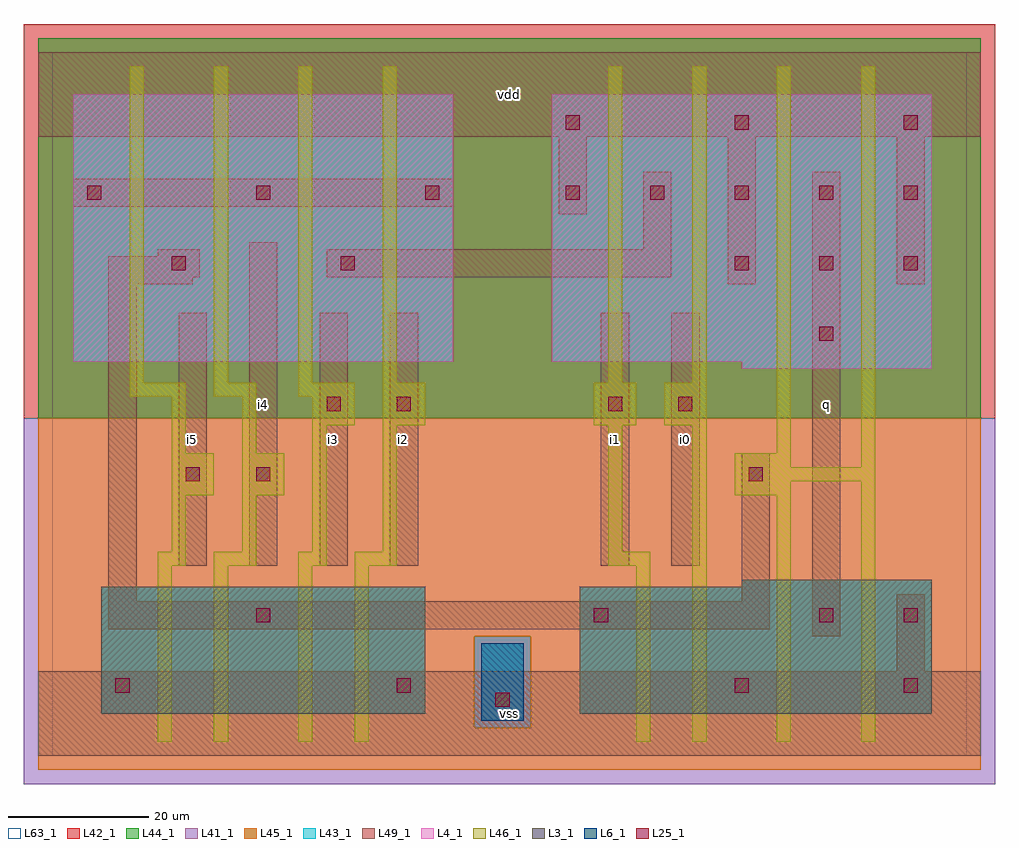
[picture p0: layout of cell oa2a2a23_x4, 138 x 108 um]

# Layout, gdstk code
import gdstk
lib = gdstk.Library(unit=1e-6, precision=1e-09)
def R(c, l, rs):  # rectangles x0, y0, x1, y1
    for r in rs: c.add(gdstk.rectangle(r[:2], r[2:], *l))
def A(c, l, x, y, w, h, nx, ny, dx, dy):  # array of equal rectangles
    R(c, l, [(x+i*dx, y+j*dy, x+i*dx+w, y+j*dy+h) for i in range(nx) for j in range(ny)])
L3_1 = (3, 1)
L4_1 = (4, 1)
L6_1 = (6, 1)
L25_1 = (25, 1)
L41_1 = (41, 1)
L42_1 = (42, 1)
L43_1 = (43, 1)
L44_1 = (44, 1)
L45_1 = (45, 1)
L46_1 = (46, 1)
L49_1 = (49, 1)
L63_1 = (63, 1)

oa2a2a23_x4 = lib.new_cell('oa2a2a23_x4')
R(oa2a2a23_x4, L3_1, [(7,6,53,24), (75,6,125,24), (98,24,125,25)])
R(oa2a2a23_x4, L4_1, [(98,55,125,56), (3,56,57,94), (71,56,125,94)])
R(oa2a2a23_x4, L6_1, [(61,5,67,16), (61,5,67,16)])
A(oa2a2a23_x4, L25_1, 97, 69, 2, 2, 3, 1, 12, 0)
A(oa2a2a23_x4, L25_1, 5, 79, 2, 2, 3, 1, 24, 0)
A(oa2a2a23_x4, L25_1, 73, 79, 2, 2, 5, 1, 12, 0)
A(oa2a2a23_x4, L25_1, 73, 89, 2, 2, 3, 1, 24, 0)
R(oa2a2a23_x4, L25_1, [(63,7,65,9), (9,9,11,11), (49,9,51,11), (97,9,99,11), (121,9,123,11), (29,19,31,21), (77,19,79,21), (109,19,111,21), (121,19,123,21), (19,39,21,41), (29,39,31,41), (99,39,101,41), (39,49,41,51), (49,49,51,51), (79,49,81,51), (89,49,91,51), (109,59,111,61), (17,69,19,71), (41,69,43,71)])
R(oa2a2a23_x4, L41_1, [(-4,-4,134,48)])
R(oa2a2a23_x4, L42_1, [(-4,48,134,104)])
R(oa2a2a23_x4, L43_1, [(61,5,67,16), (7,6,53,24), (75,6,125,24), (98,24,125,25), (98,55,125,56), (3,56,57,94), (71,56,125,94)])
R(oa2a2a23_x4, L44_1, [(60,4,68,17), (-2,48,132,102)])
R(oa2a2a23_x4, L45_1, [(-2,-2,132,4), (-2,4,60,17), (68,4,132,17), (-2,17,132,48)])
A(oa2a2a23_x4, L46_1, 11, 53, 2, 45, 4, 1, 12, 0)
R(oa2a2a23_x4, L46_1, [(15,2,17,27), (23,2,25,27), (35,2,37,27), (43,2,45,27), (83,2,85,27), (91,2,93,47), (103,2,105,37), (115,2,117,39), (15,27,19,29), (23,27,29,29), (35,27,39,29), (43,27,49,29), (79,27,85,29), (17,29,19,37), (27,29,29,37), (37,29,39,47), (47,29,49,47), (79,29,81,47), (17,37,23,43), (27,37,33,43), (97,37,105,39), (97,39,117,41), (97,41,105,43), (115,41,117,98), (17,43,19,51), (27,43,29,51), (103,43,105,98), (37,47,43,51), (47,47,53,53), (77,47,83,53), (87,47,93,53), (11,51,19,53), (23,51,29,53), (35,51,43,53), (79,53,81,98), (91,53,93,98)])
R(oa2a2a23_x4, L49_1, [(-2,0,132,12), (120,12,124,23), (108,17,112,83), (8,18,102,22), (8,22,12,67), (98,22,102,43), (18,27,22,63), (28,27,32,73), (38,27,42,63), (48,27,52,63), (78,27,82,63), (88,27,92,63), (8,67,20,68), (96,67,100,88), (120,67,124,88), (8,68,21,71), (39,68,88,72), (15,71,21,72), (84,72,88,83), (72,77,76,88), (3,78,57,82), (-2,88,132,100)])
R(oa2a2a23_x4, L63_1, [(0,0,130,100)])
oa2a2a23_x4.add(gdstk.Label('i5', (20,45), layer=49, texttype=1))
oa2a2a23_x4.add(gdstk.Label('i4', (30,50), layer=49, texttype=1))
oa2a2a23_x4.add(gdstk.Label('i3', (40,45), layer=49, texttype=1))
oa2a2a23_x4.add(gdstk.Label('vss', (65,6), layer=49, texttype=1))
oa2a2a23_x4.add(gdstk.Label('i2', (50,45), layer=49, texttype=1))
oa2a2a23_x4.add(gdstk.Label('vdd', (65,94), layer=49, texttype=1))
oa2a2a23_x4.add(gdstk.Label('i1', (80,45), layer=49, texttype=1))
oa2a2a23_x4.add(gdstk.Label('i0', (90,45), layer=49, texttype=1))
oa2a2a23_x4.add(gdstk.Label('q', (110,50), layer=49, texttype=1))

lib.write_gds('oa2a2a23_x4.gds')
